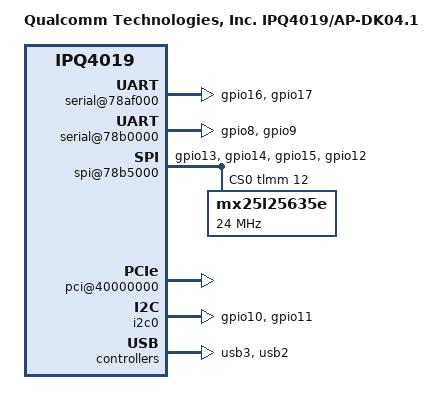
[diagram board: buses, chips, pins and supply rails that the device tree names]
// SPDX-License-Identifier: GPL-2.0
// Copyright (c) 2018, The Linux Foundation. All rights reserved.

#include "qcom-ipq4019.dtsi"
#include <dt-bindings/input/input.h>
#include <dt-bindings/gpio/gpio.h>

/ {
	model = "Qualcomm Technologies, Inc. IPQ4019/AP-DK04.1";

	aliases {
		serial0 = &blsp1_uart1;
		serial1 = &blsp1_uart2;
	};

	chosen {
		stdout-path = "serial0:115200n8";
	};

	soc {
		rng@22000 {
			status = "okay";
		};

		pinctrl@1000000 {
			serial_0_pins: serial0-pinmux {
				mux {
					pins = "gpio16", "gpio17";
					function = "blsp_uart0";
					bias-disable;
				};
			};

			serial_1_pins: serial1-pinmux {
				mux {
					pins = "gpio8", "gpio9";
					function = "blsp_uart1";
					bias-disable;
				};
			};

			spi_0_pins: spi-0-pinmux {
				pinmux {
					function = "blsp_spi0";
					pins = "gpio13", "gpio14", "gpio15";
				};
				pinmux_cs {
					function = "gpio";
					pins = "gpio12";
				};
				pinconf {
					pins = "gpio13", "gpio14", "gpio15";
					drive-strength = <12>;
					bias-disable;
				};
				pinconf_cs {
					pins = "gpio12";
					drive-strength = <2>;
					bias-disable;
					output-high;
				};
			};

			i2c_0_pins: i2c-0-pinmux {
				pinmux {
					function = "blsp_i2c0";
					pins = "gpio10", "gpio11";
				};
				pinconf {
					pins = "gpio10", "gpio11";
					drive-strength = <16>;
					bias-disable;
				};
			};

			nand_pins: nand-pins {
				pullups {
					pins = "gpio52", "gpio53", "gpio58",
						"gpio59";
					function = "qpic";
					bias-pull-up;
				};

				pulldowns {
					pins = "gpio54", "gpio55", "gpio56",
						"gpio57", "gpio60", "gpio61",
						"gpio62", "gpio63", "gpio64",
						"gpio65", "gpio66", "gpio67",
						"gpio68", "gpio69";
					function = "qpic";
					bias-pull-down;
				};
			};
		};

		serial@78af000 {
			pinctrl-0 = <&serial_0_pins>;
			pinctrl-names = "default";
			status = "ok";
		};

		serial@78b0000 {
			pinctrl-0 = <&serial_1_pins>;
			pinctrl-names = "default";
			status = "ok";
		};

		dma@7884000 {
			status = "ok";
		};

		spi@78b5000 { /* BLSP1 QUP1 */
			pinctrl-0 = <&spi_0_pins>;
			pinctrl-names = "default";
			status = "ok";
			cs-gpios = <&tlmm 12 0>;

			mx25l25635e@0 {
				#address-cells = <1>;
				#size-cells = <1>;
				reg = <0>;
				compatible = "mx25l25635e";
				spi-max-frequency = <24000000>;
			};
		};

		pci@40000000 {
			status = "ok";
			perst-gpio = <&tlmm 38 0x1>;
		};

		i2c0: i2c@78b7000 { /* BLSP1 QUP2 */
			pinctrl-0 = <&i2c_0_pins>;
			pinctrl-names = "default";

			status = "okay";
		};

		qpic-nand@79b0000 {
			pinctrl-0 = <&nand_pins>;
			pinctrl-names = "default";
		};

		usb3_ss_phy: ssphy@9a000 {
			status = "okay";
		};

		usb3_hs_phy: hsphy@a6000 {
			status = "okay";
		};

		usb3: usb3@8af8800 {
			status = "okay";
		};

		usb2_hs_phy: hsphy@a8000 {
			status = "okay";
		};

		usb2: usb2@60f8800 {
			status = "okay";
		};

		cryptobam: dma@8e04000 {
			status = "okay";
		};

		crypto@8e3a000 {
			status = "okay";
		};

		watchdog@b017000 {
			status = "okay";
		};
	};
};
